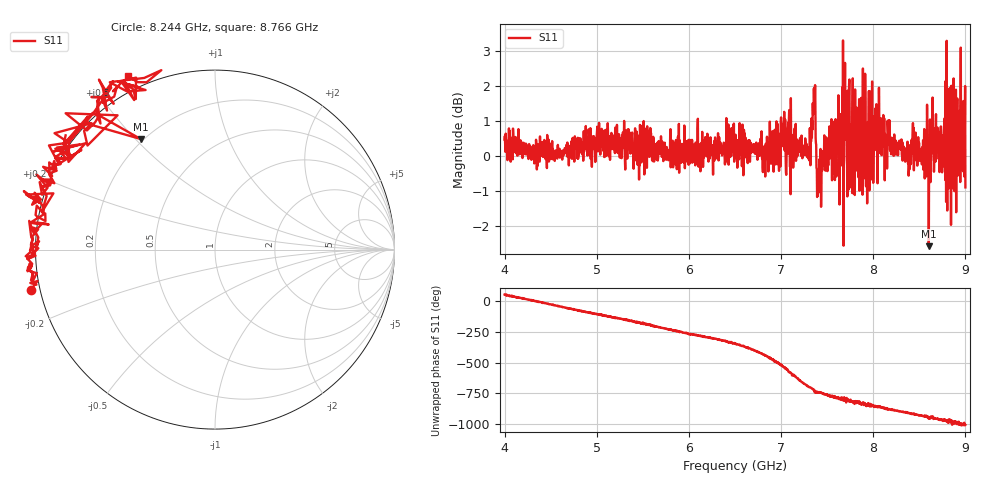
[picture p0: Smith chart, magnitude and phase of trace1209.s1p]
! Created with skrf 1.8.0 (http://scikit-rf.org).
# Hz S RI R 50.0
!freq ReS11 ImS11
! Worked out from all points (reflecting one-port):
!   1601 points, 4 GHz to 9 GHz, reference 50 ohm
!   lowest |S11| = -2.6 dB at 8.603 GHz (marker M1), VSWR 6.78, Z = 9.41 + j25.9 ohm
!   phase of S11 starts at 51 deg and turns -1056 deg over the sweep
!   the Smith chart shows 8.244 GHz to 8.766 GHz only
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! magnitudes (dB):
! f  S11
! 4 GHz  0.5
! 4.625 GHz  -0.1
! 5.25 GHz  0.0
! 5.875 GHz  0.0
! 6.5 GHz  0.3
! 6.819 GHz  0.0
! 7.022 GHz  0.5
! 7.125 GHz  0.1
! 7.294 GHz  -0.1
! 7.353 GHz  1.2
! 7.412 GHz  -0.7
! 7.534 GHz  0.5
! 7.653 GHz  0.1
! 7.672 GHz  3.3
! 7.75 GHz  -0.6
! 7.775 GHz  1.2
! 7.822 GHz  1.4
! 7.909 GHz  0.8
! 8.088 GHz  0.4
! 8.375 GHz  0.1
! 8.603 GHz  -2.6
! 8.656 GHz  0.5
! 8.766 GHz  0.7
! 8.809 GHz  1.5
! 8.9 GHz  -1.6
! 8.956 GHz  0.3
! 8.972 GHz  0.2
! 9 GHz  -0.9
